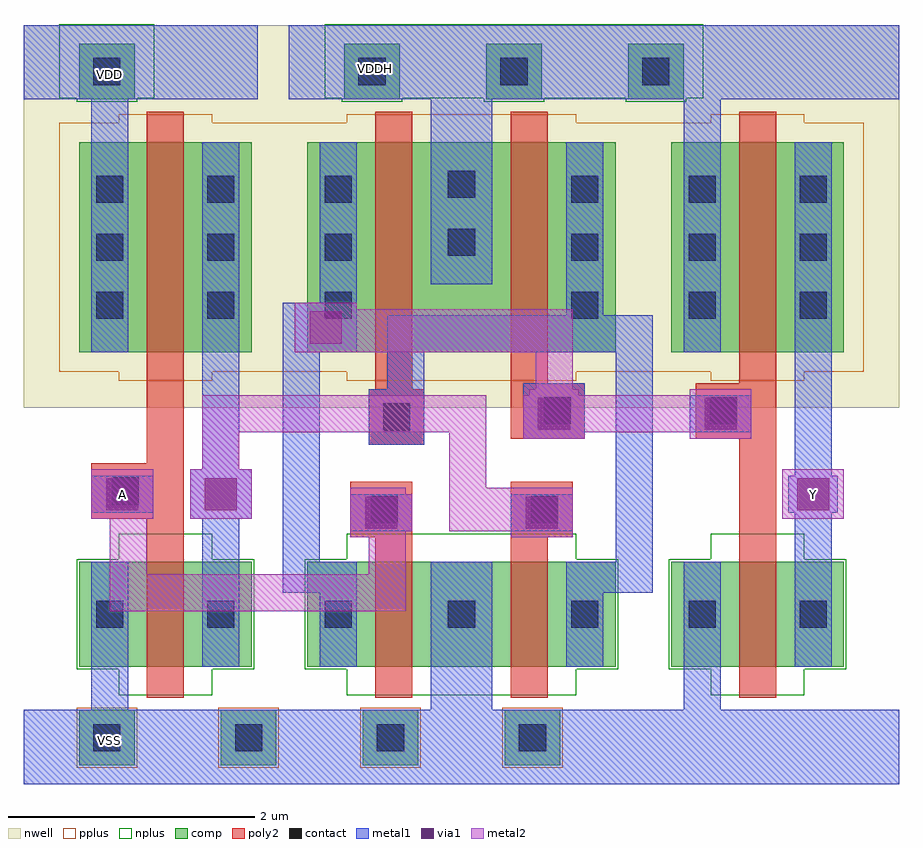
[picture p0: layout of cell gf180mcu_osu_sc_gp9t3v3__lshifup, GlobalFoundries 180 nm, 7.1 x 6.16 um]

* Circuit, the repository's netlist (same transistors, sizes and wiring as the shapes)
* Copyright 2022 Google LLC
*
* Licensed under the Apache License, Version 2.0 (the "License");
* you may not use this file except in compliance with the License.
* You may obtain a copy of the License at
*
*      http://www.apache.org/licenses/LICENSE-2.0
*
* Unless required by applicable law or agreed to in writing, software
* distributed under the License is distributed on an "AS IS" BASIS,
* WITHOUT WARRANTIES OR CONDITIONS OF ANY KIND, either express or implied.
* See the License for the specific language governing permissions and
* limitations under the License.

.option scale=0.05u

.subckt gf180mcu_osu_sc_gp9t3v3__lshifup A Y
X0 a_26_19 A VDDH VDDH pmos_3p3 w=34 l=6
X1 Y a_46_19 VDDH VDDH pmos_3p3 w=34 l=6
X2 VSS A a_46_19 VSS nmos_3p3 w=17 l=6
X3 VDDH a_56_55 a_46_19 VDDH pmos_3p3 w=34 l=6
X4 a_56_55 a_26_19 VSS VSS nmos_3p3 w=17 l=6
X5 a_56_55 a_46_19 VDDH VDDH pmos_3p3 w=34 l=6
X6 a_26_19 A VSS VSS nmos_3p3 w=17 l=6
X7 Y a_46_19 VSS VSS nmos_3p3 w=17 l=6
.ends

** hspice subcircuit dictionary

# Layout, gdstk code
import gdstk
lib = gdstk.Library(unit=1e-6, precision=1e-09)
def R(c, l, rs):  # rectangles x0, y0, x1, y1
    for r in rs: c.add(gdstk.rectangle(r[:2], r[2:], *l))
def A(c, l, x, y, w, h, nx, ny, dx, dy):  # array of equal rectangles
    R(c, l, [(x+i*dx, y+j*dy, x+i*dx+w, y+j*dy+h) for i in range(nx) for j in range(ny)])
nwell = (21, 0)
comp = (22, 0)
poly2 = (30, 0)
pplus = (31, 0)
nplus = (32, 0)
contact = (33, 0)
metal1 = (34, 0)
via1 = (35, 0)
metal2 = (36, 0)

gf180mcu_osu_sc_gp9t3v3_ = lib.new_cell('gf180mcu_osu_sc_gp9t3v3__lshifup')
R(gf180mcu_osu_sc_gp9t3v3_, nwell, [(0,3.05,7.1,6.15)])
A(gf180mcu_osu_sc_gp9t3v3_, comp, 0.45, 0.15, 0.45, 0.45, 4, 1, 1.15, 0)
A(gf180mcu_osu_sc_gp9t3v3_, comp, 2.6, 5.55, 0.45, 0.45, 3, 1, 1.15, 0)
R(gf180mcu_osu_sc_gp9t3v3_, comp, [(0.45,0.95,1.85,1.8), (2.3,0.95,4.8,1.8), (5.25,0.95,6.65,1.8), (0.45,3.5,1.85,5.2), (2.3,3.5,4.8,5.2), (5.25,3.5,6.65,5.2), (0.45,5.55,0.9,6)])
R(gf180mcu_osu_sc_gp9t3v3_, poly2, [(1,0.7,1.3,2.15), (2.85,0.7,3.15,2), (3.95,0.7,4.25,2), (5.8,0.7,6.1,2.8), (2.65,2,3.15,2.45), (3.95,2,4.45,2.45), (0.55,2.15,1.3,2.6), (1,2.6,1.3,5.45), (2.8,2.75,3.25,3.2), (3.95,2.8,4.55,3.25), (5.45,2.8,6.1,3.25), (2.85,3.2,3.15,5.45), (3.95,3.25,4.25,5.45), (5.8,3.25,6.1,5.45)])
A(gf180mcu_osu_sc_gp9t3v3_, pplus, 0.43, 0.13, 0.49, 0.49, 4, 1, 1.15, 0)
R(gf180mcu_osu_sc_gp9t3v3_, pplus, [(0.77,3.27,1.53,3.34), (2.62,3.27,4.48,3.34), (5.57,3.27,6.33,3.34), (0.29,3.34,6.81,5.36), (0.77,5.36,1.53,5.43), (2.62,5.36,4.48,5.43), (5.57,5.36,6.33,5.43)])
A(gf180mcu_osu_sc_gp9t3v3_, nplus, 2.58, 5.53, 0.49, 0.03, 3, 1, 1.15, 0)
R(gf180mcu_osu_sc_gp9t3v3_, nplus, [(0.77,0.72,1.53,0.93), (2.62,0.72,4.48,0.93), (5.57,0.72,6.33,0.93), (0.43,0.93,1.87,1.82), (2.28,0.93,4.82,1.82), (5.23,0.93,6.67,1.82), (0.77,1.82,1.53,2.03), (2.62,1.82,4.48,2.03), (5.57,1.82,6.33,2.03), (0.43,5.53,0.92,5.56), (0.29,5.56,1.06,6.16), (2.44,5.56,5.51,6.16)])
A(gf180mcu_osu_sc_gp9t3v3_, contact, 0.565, 0.265, 0.22, 0.22, 4, 1, 1.15, 0)
A(gf180mcu_osu_sc_gp9t3v3_, contact, 2.44, 1.265, 0.22, 0.22, 3, 1, 1, 0)
A(gf180mcu_osu_sc_gp9t3v3_, contact, 0.59, 3.77, 0.22, 0.22, 1, 3, 0, 0.47)
A(gf180mcu_osu_sc_gp9t3v3_, contact, 1.49, 3.77, 0.22, 0.22, 1, 3, 0, 0.47)
A(gf180mcu_osu_sc_gp9t3v3_, contact, 2.44, 3.77, 0.22, 0.22, 1, 3, 0, 0.47)
A(gf180mcu_osu_sc_gp9t3v3_, contact, 4.44, 3.77, 0.22, 0.22, 1, 3, 0, 0.47)
A(gf180mcu_osu_sc_gp9t3v3_, contact, 5.39, 3.77, 0.22, 0.22, 1, 3, 0, 0.47)
A(gf180mcu_osu_sc_gp9t3v3_, contact, 6.29, 3.77, 0.22, 0.22, 1, 3, 0, 0.47)
A(gf180mcu_osu_sc_gp9t3v3_, contact, 2.715, 5.665, 0.22, 0.22, 3, 1, 1.15, 0)
R(gf180mcu_osu_sc_gp9t3v3_, contact, [(0.59,1.265,0.81,1.485), (1.49,1.265,1.71,1.485), (5.39,1.265,5.61,1.485), (6.29,1.265,6.51,1.485), (2.815,2.115,3.035,2.335), (4.115,2.115,4.335,2.335), (0.715,2.265,0.935,2.485), (2.915,2.865,3.135,3.085), (4.215,2.915,4.435,3.135), (5.565,2.915,5.785,3.135), (3.44,4.28,3.66,4.5), (3.44,4.75,3.66,4.97), (0.565,5.665,0.785,5.885)])
R(gf180mcu_osu_sc_gp9t3v3_, metal1, [(0,0,7.1,0.6), (0.55,0.6,0.85,1.8), (3.3,0.6,3.8,1.8), (5.35,0.6,5.65,1.8), (1.45,0.95,1.75,2.15), (2.4,0.95,2.7,1.55), (4.4,0.95,4.7,1.55), (6.25,0.95,6.55,2.2), (2.1,1.55,2.7,1.8), (4.4,1.55,5.1,1.8), (2.1,1.8,2.4,3.5), (4.8,1.8,5.1,3.5), (2.65,2.05,3.15,2.35), (3.95,2.05,4.45,2.35), (1.35,2.15,1.85,2.55), (0.55,2.2,1.05,2.5), (6.2,2.2,6.6,2.5), (6.25,2.5,6.55,5.2), (1.45,2.55,1.75,5.2), (2.8,2.75,3.25,3.2), (4.05,2.8,4.55,3.25), (5.4,2.85,5.9,3.15), (2.95,3.2,3.25,3.5), (0.55,3.5,0.85,5.55), (2.1,3.5,2.7,3.9), (2.95,3.5,5.1,3.8), (5.35,3.5,5.65,5.55), (4.4,3.8,4.7,5.2), (2.4,3.9,2.7,5.2), (3.3,4.05,3.8,5.55), (0,5.55,1.9,6.15), (2.15,5.55,7.1,6.15)])
R(gf180mcu_osu_sc_gp9t3v3_, via1, [(2.77,2.07,3.03,2.33), (4.07,2.07,4.33,2.33), (0.67,2.22,0.93,2.48), (1.47,2.22,1.73,2.48), (6.27,2.22,6.53,2.48), (4.17,2.87,4.43,3.13), (5.52,2.87,5.78,3.13), (2.32,3.57,2.58,3.83)])
R(gf180mcu_osu_sc_gp9t3v3_, metal2, [(0.7,1.4,3.1,1.7), (0.7,1.7,1,2.15), (2.8,1.7,3.1,2), (2.65,2,3.1,2.05), (3.95,2,4.45,2.05), (2.65,2.05,3.15,2.35), (3.45,2.05,4.45,2.4), (0.55,2.15,1.05,2.55), (1.35,2.15,1.85,2.55), (6.15,2.15,6.65,2.55), (2.65,2.35,3.1,2.4), (3.45,2.4,3.75,2.85), (1.45,2.55,1.75,2.85), (4.05,2.8,4.55,2.85), (5.4,2.8,5.9,2.85), (1.45,2.85,3.75,3.15), (4.05,2.85,5.9,3.15), (4.1,3.15,4.5,3.2), (5.4,3.15,5.9,3.2), (4.15,3.2,4.45,3.5), (2.2,3.5,4.45,3.85), (2.2,3.85,2.7,3.9)])
gf180mcu_osu_sc_gp9t3v3_.add(gdstk.Label('VSS', (0.7,0.35), layer=34, texttype=0))
gf180mcu_osu_sc_gp9t3v3_.add(gdstk.Label('VDD', (0.7,5.75), layer=34, texttype=0))
gf180mcu_osu_sc_gp9t3v3_.add(gdstk.Label('VDDH', (2.85,5.8), layer=34, texttype=0))
gf180mcu_osu_sc_gp9t3v3_.add(gdstk.Label('A', (0.8,2.35), layer=36, texttype=10))
gf180mcu_osu_sc_gp9t3v3_.add(gdstk.Label('Y', (6.4,2.35), layer=36, texttype=10))

lib.write_gds('gf180mcu_osu_sc_gp9t3v3__lshifup.gds')
